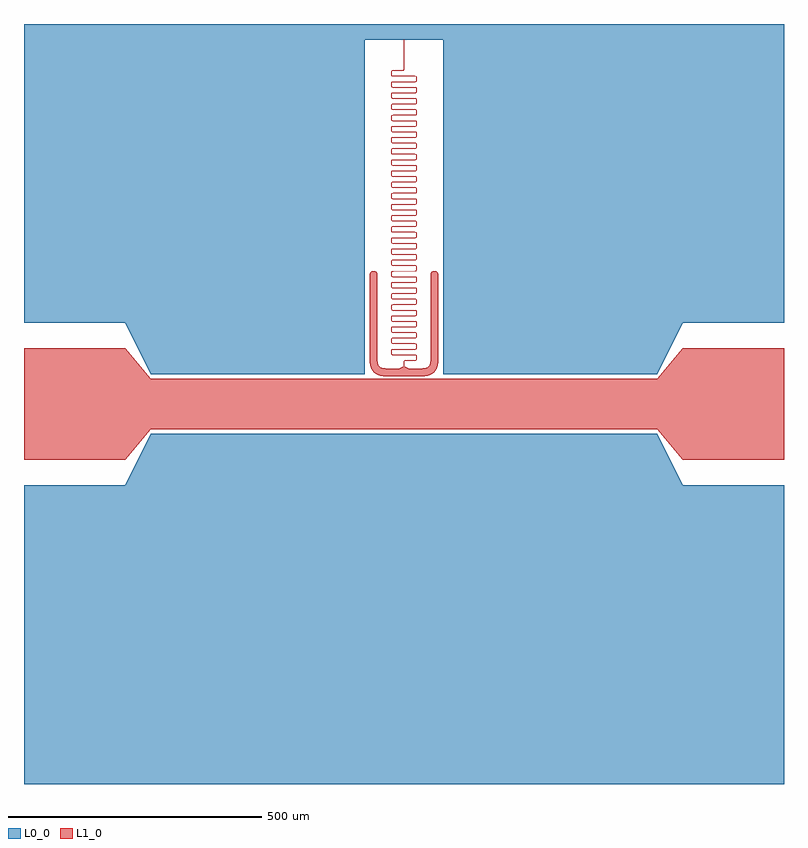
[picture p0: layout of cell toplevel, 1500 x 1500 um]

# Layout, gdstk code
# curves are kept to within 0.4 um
import gdstk
lib = gdstk.Library(unit=1e-6, precision=1e-09)
def P(c, l, *ps):  # polygons
    for p in ps: c.add(gdstk.Polygon(p, *l))
L0_0 = (0, 0)
L1_0 = (1, 0)

toplevel = lib.new_cell('toplevel')
P(toplevel, L0_0, [(77.5,719),(77.5,59),(500,59),(550,160),(750,160),(750,750),(-750,750),(-750,160),(-550,160),(-500,59),(-77.5,59),(-77.5,719)],
  [(750,-160),(550,-160),(500,-59),(-500,-59),(-550,-160),(-750,-160),(-750,-750),(750,-750)])
P(toplevel, L1_0, [(-60.327,262.493),(-63.17,261.797),(-65.53,260.067),(-67.048,257.565),(-67.5,255),(-67.466,86.294),(-66.361,76.299),(-63.309,68.269),(-59.261,62.96),(-54.07,59.101),(-47.508,56.466),(-39.74,55.199),(37.654,55.08),(46.853,56.295),(54.231,59.191),(59.678,63.38),(63.576,68.753),(66.164,75.484),(67.352,83.513),(67.5,255),(66.495,258.75),(63.17,261.797),(58.377,262.322),(54.47,260.067),(52.529,255.654),(52.486,87.498),(51.922,80.522),(50.334,75.8),(48.603,73.52),(46.053,71.837),(38.181,70.127),(-36.211,70.039),(-43.028,70.801),(-47.908,72.94),(-50.663,76.447),(-52.173,82.144),(-52.507,255.327),(-53.203,258.17),(-54.933,260.53),(-57.435,262.048)],
  [(0.5,75),(0.542,83.395),(0.892,84.54),(1.647,85.207),(3.309,85.498),(22.056,85.513),(23.416,85.743),(24.439,86.314),(25.209,87.449),(25.492,89.074),(25.462,94.413),(25.237,95.474),(24.782,96.322),(23.609,97.187),(21.852,97.495),(-22.765,97.601),(-23.43,97.83),(-23.923,98.208),(-24.254,98.752),(-24.442,99.48),(-24.486,105.057),(-24.353,105.956),(-24.056,106.621),(-23.194,107.275),(-21.742,107.497),(22.451,107.542),(23.855,107.925),(24.834,108.747),(25.365,109.971),(25.489,116.018),(25.257,117.416),(24.918,118.129),(24.422,118.7),(23.761,119.121),(22.951,119.382),(21.454,119.5),(-22.074,119.515),(-23.153,119.71),(-23.887,120.169),(-24.319,120.93),(-24.491,122.041),(-24.386,127.824),(-23.85,128.869),(-22.794,129.393),(-21.451,129.5),(22.262,129.525),(23.628,129.821),(24.627,130.496),(25.251,131.564),(25.49,133),(25.494,137.889),(25.3,139.281),(24.974,140.039),(24.488,140.642),(23.836,141.085),(23.009,141.37),(21.454,141.5),(-22.074,141.515),(-23.139,141.705),(-23.878,142.159),(-24.314,142.916),(-24.49,144.025),(-24.386,149.824),(-23.85,150.869),(-22.794,151.393),(-21.451,151.5),(22.262,151.525),(23.628,151.821),(24.627,152.496),(25.244,153.545),(25.489,154.982),(25.494,159.889),(25.3,161.281),(24.974,162.039),(24.488,162.642),(23.836,163.085),(23.009,163.37),(21.454,163.5),(-22.074,163.515),(-23.139,163.705),(-23.878,164.159),(-24.314,164.916),(-24.49,166.025),(-24.386,171.824),(-23.85,172.869),(-22.794,173.393),(-21.451,173.5),(22.262,173.525),(23.628,173.821),(24.627,174.496),(25.244,175.545),(25.488,176.963),(25.494,181.889),(25.3,183.281),(24.974,184.039),(24.488,184.642),(23.836,185.085),(23.009,185.37),(21.454,185.5),(-22.074,185.515),(-23.139,185.705),(-23.878,186.159),(-24.314,186.916),(-24.489,188.008),(-24.386,193.824),(-23.85,194.869),(-22.794,195.393),(-21.451,195.5),(22.262,195.525),(23.609,195.813),(24.612,196.48),(25.237,197.526),(25.487,198.944),(25.494,203.889),(25.3,205.281),(24.974,206.039),(24.488,206.642),(23.836,207.085),(23.009,207.37),(21.454,207.5),(-22.057,207.514),(-23.126,207.7),(-23.869,208.15),(-24.31,208.902),(-24.488,209.992),(-24.386,215.824),(-23.85,216.869),(-22.794,217.393),(-21.451,217.5),(22.262,217.525),(23.609,217.813),(24.612,218.48),(25.237,219.526),(25.486,220.926),(25.494,225.889),(25.3,227.281),(24.974,228.039),(24.488,228.642),(23.836,229.085),(23.009,229.37),(21.454,229.5),(-22.057,229.514),(-23.126,229.7),(-23.869,230.15),(-24.31,230.902),(-24.488,231.975),(-24.386,237.824),(-23.85,238.869),(-22.794,239.393),(-21.451,239.5),(22.243,239.524),(23.609,239.813),(24.597,240.465),(25.231,241.507),(25.485,242.907),(25.494,247.871),(25.3,249.281),(24.974,250.039),(24.488,250.642),(23.836,251.085),(23.009,251.37),(21.454,251.5),(-22.057,251.514),(-23.126,251.7),(-23.86,252.14),(-24.305,252.888),(-24.487,253.959),(-24.386,259.824),(-23.85,260.869),(-22.794,261.393),(-21.451,261.5),(22.243,261.524),(23.609,261.813),(24.597,262.465),(25.224,263.487),(25.484,264.888),(25.494,269.871),(25.3,271.281),(24.974,272.039),(24.488,272.642),(23.836,273.085),(23.009,273.37),(21.454,273.5),(-22.057,273.514),(-23.126,273.7),(-23.86,274.14),(-24.3,274.874),(-24.486,275.943),(-24.39,281.809),(-23.86,282.86),(-22.794,283.393),(-21.451,283.5),(22.243,283.524),(23.609,283.813),(24.597,284.465),(25.224,285.487),(25.483,286.87),(25.494,291.871),(25.306,293.261),(24.974,294.039),(24.488,294.642),(23.836,295.085),(23.009,295.37),(21.454,295.5),(-22.057,295.514),(-23.112,295.695),(-23.85,296.131),(-24.295,296.861),(-24.484,297.91),(-24.39,303.809),(-23.86,304.86),(-22.794,305.393),(-21.451,305.5),(22.243,305.524),(23.609,305.813),(24.597,306.465),(25.224,307.487),(25.482,308.851),(25.494,313.871),(25.306,315.261),(24.974,316.039),(24.488,316.642),(23.836,317.085),(23.009,317.37),(21.454,317.5),(-22.057,317.514),(-23.112,317.695),(-23.85,318.131),(-24.29,318.847),(-24.483,319.894),(-24.39,325.809),(-23.86,326.86),(-22.794,327.393),(-21.451,327.5),(22.243,327.524),(23.589,327.806),(24.582,328.449),(25.209,329.449),(25.48,330.814),(25.495,335.852),(25.306,337.261),(24.974,338.039),(24.488,338.642),(23.836,339.085),(23.009,339.37),(21.454,339.5),(-22.041,339.513),(-23.098,339.69),(-23.841,340.122),(-24.285,340.833),(-24.482,341.877),(-24.39,347.809),(-23.86,348.86),(-22.794,349.393),(-21.451,349.5),(22.243,349.524),(23.589,349.806),(24.582,350.449),(25.209,351.449),(25.479,352.795),(25.495,357.852),(25.306,359.261),(24.974,360.039),(24.488,360.642),(23.836,361.085),(23.009,361.37),(21.454,361.5),(-22.041,361.513),(-23.098,361.69),(-23.831,362.113),(-24.28,362.819),(-24.48,363.845),(-24.39,369.809),(-23.86,370.86),(-22.794,371.393),(-21.451,371.5),(22.224,371.523),(23.57,371.798),(24.567,372.433),(25.202,373.43),(25.476,374.757),(25.495,379.852),(25.306,381.261),(24.974,382.039),(24.488,382.642),(23.836,383.085),(23.009,383.37),(21.454,383.5),(-22.041,383.513),(-23.098,383.69),(-23.831,384.113),(-24.28,384.819),(-24.479,385.829),(-24.39,391.809),(-23.86,392.86),(-22.794,393.393),(-21.451,393.5),(22.224,393.523),(23.551,393.791),(24.551,394.418),(25.194,395.411),(25.475,396.738),(25.495,401.852),(25.306,403.261),(24.974,404.039),(24.488,404.642),(23.836,405.085),(23.009,405.37),(21.454,405.5),(-22.041,405.513),(-23.084,405.686),(-23.821,406.104),(-24.27,406.792),(-24.476,407.796),(-24.393,413.794),(-23.86,414.86),(-22.794,415.393),(-21.451,415.5),(22.224,415.523),(23.551,415.791),(24.551,416.418),(25.187,417.391),(25.472,418.701),(25.495,423.834),(25.311,425.242),(24.985,426.021),(24.488,426.642),(23.836,427.085),(23.009,427.37),(21.454,427.5),(-22.025,427.512),(-23.07,427.681),(-23.812,428.095),(-24.264,428.779),(-24.474,429.764),(-24.393,435.794),(-23.86,436.86),(-22.794,437.393),(-21.451,437.5),(22.224,437.523),(23.551,437.791),(24.535,438.403),(25.179,439.372),(25.469,440.663),(25.496,445.816),(25.311,447.242),(24.985,448.021),(24.488,448.642),(23.836,449.085),(23.009,449.37),(21.454,449.5),(-22.025,449.512),(-23.07,449.681),(-23.802,450.086),(-24.259,450.765),(-24.471,451.732),(-24.393,457.794),(-23.86,458.86),(-22.794,459.393),(-21.451,459.5),(22.205,459.521),(23.532,459.784),(24.52,460.388),(25.163,461.334),(25.464,462.606),(25.496,467.816),(25.311,469.242),(24.985,470.021),(24.488,470.642),(23.836,471.085),(23.009,471.37),(21.454,471.5),(-22.025,471.512),(-23.056,471.677),(-23.792,472.077),(-24.248,472.738),(-24.467,473.684),(-24.396,479.779),(-23.86,480.86),(-22.794,481.393),(-21.451,481.5),(22.205,481.521),(23.513,481.776),(24.504,482.373),(25.155,483.315),(25.46,484.568),(25.496,489.797),(25.317,491.223),(24.996,492.003),(24.504,492.627),(23.836,493.085),(23.009,493.37),(21.454,493.5),(-22.008,493.512),(-23.042,493.672),(-23.782,494.068),(-24.237,494.712),(-24.462,495.636),(-24.396,501.779),(-23.86,502.86),(-22.794,503.393),(-21.451,503.5),(22.186,503.52),(23.493,503.769),(24.488,504.358),(25.138,505.277),(25.454,506.511),(25.496,511.779),(25.317,513.223),(24.996,514.003),(24.504,514.627),(23.836,515.085),(23.009,515.37),(21.454,515.5),(-22.008,515.512),(-23.027,515.668),(-23.762,516.051),(-24.219,516.673),(-24.456,517.589),(-24.396,523.779),(-23.86,524.86),(-22.779,525.396),(22.186,525.52),(23.493,525.769),(24.471,526.343),(25.121,527.239),(25.445,528.434),(25.497,533.743),(25.322,535.203),(24.996,536.003),(24.504,536.627),(23.836,537.085),(23.009,537.37),(21.454,537.5),(-21.992,537.511),(-23.013,537.664),(-23.741,538.034),(-24.207,538.647),(-24.449,539.526),(-24.399,545.765),(-23.86,546.86),(-22.779,547.396),(22.168,547.519),(23.455,547.756),(24.439,548.314),(25.094,549.183),(25.435,550.358),(25.498,555.706),(25.327,557.184),(25.006,557.984),(24.52,558.612),(23.855,559.075),(23.029,559.365),(21.454,559.5),(-21.975,559.51),(-22.985,559.655),(-23.72,560.017),(-24.189,560.608),(-24.44,561.464),(-24.399,567.765),(-23.86,568.86),(-22.779,569.396),(-21.451,569.5),(22.149,569.518),(23.436,569.749),(24.406,570.286),(25.066,571.127),(25.421,572.261),(25.498,577.67),(25.332,579.165),(25.016,579.966),(24.52,580.612),(23.855,581.075),(23.029,581.365),(21.454,581.5),(-21.975,581.51),(-22.97,581.651),(-23.699,582),(-24.163,582.558),(-24.425,583.372),(-24.403,589.75),(-23.869,590.85),(-22.779,591.396),(-21.434,591.5),(22.13,591.517),(23.397,591.736),(24.356,592.245),(25.027,593.052),(25.401,594.146),(25.499,599.598),(25.337,601.145),(25.027,601.948),(24.535,602.597),(23.873,603.066),(23.029,603.365),(21.454,603.5),(-21.942,603.509),(-22.927,603.639),(-23.655,603.968),(-24.129,604.496),(-24.406,605.265),(-24.406,611.735),(-23.869,612.85),(-22.779,613.396),(-21.434,613.5),(22.112,613.516),(23.339,613.717),(24.305,614.205),(24.974,614.961),(25.37,615.991),(25.5,621.49),(25.342,623.126),(25.027,623.948),(24.535,624.597),(23.873,625.066),(23.029,625.365),(21.454,625.5),(-21.926,625.508),(-22.898,625.632),(-23.61,625.937),(-24.086,626.425),(-24.379,627.146),(-24.5,628.497),(-24.412,633.704),(-23.878,634.841),(-22.779,635.396),(-21.434,635.5),(22.074,635.514),(23.281,635.7),(24.218,636.141),(24.895,636.835),(25.322,637.797),(25.5,639.51),(25.495,643.852),(25.352,645.087),(25.037,645.929),(24.551,646.582),(23.873,647.066),(23.029,647.365),(21.454,647.5),(-21.892,647.507),(-22.839,647.617),(-23.54,647.892),(-24.016,648.323),(-24.332,648.973),(-24.497,650.275),(-24.451,655.458),(-24.071,656.598),(-23.288,657.237),(-21.674,657.498),(-2.587,657.538),(-1.584,657.743),(-0.782,658.141),(-0.179,658.73),(0.237,659.526),(0.5,661.51),(0.5,719),(-0.5,719),(-0.5,661.531),(-0.705,659.861),(-1,659.301),(-1.425,658.914),(-2.812,658.522),(-21.761,658.497),(-22.854,658.401),(-23.742,658.13),(-24.859,657.218),(-25.417,655.758),(-25.497,650.257),(-25.288,648.68),(-24.846,647.764),(-24.165,647.105),(-23.242,646.689),(-22.056,646.513),(22.779,646.396),(23.878,645.841),(24.414,644.689),(24.499,639.411),(24.357,638.059),(24.056,637.379),(23.575,636.914),(22.868,636.624),(21.909,636.508),(-21.454,636.5),(-23.029,636.365),(-23.873,636.066),(-24.551,635.582),(-25.037,634.929),(-25.347,634.106),(-25.5,632.348),(-25.495,628.148),(-25.352,626.913),(-24.941,625.906),(-24.27,625.179),(-23.32,624.712),(-22.093,624.515),(22.779,624.396),(23.878,623.841),(24.409,622.719),(24.5,617.566),(24.393,616.206),(24.108,615.46),(23.632,614.952),(22.912,614.635),(21.942,614.509),(-21.454,614.5),(-23.029,614.365),(-23.873,614.066),(-24.535,613.597),(-25.027,612.948),(-25.337,612.145),(-25.499,610.562),(-25.386,605.068),(-25.006,604.016),(-24.339,603.231),(-23.378,602.73),(-22.13,602.517),(22.779,602.396),(23.869,601.85),(24.406,600.735),(24.417,594.326),(24.15,593.533),(23.677,592.984),(22.956,592.647),(21.959,592.509),(-21.454,592.5),(-23.029,592.365),(-23.855,592.075),(-24.52,591.612),(-25.016,590.966),(-25.332,590.165),(-25.499,588.634),(-25.411,583.204),(-25.047,582.09),(-24.389,581.272),(-23.416,580.743),(-22.149,580.518),(22.779,580.396),(23.869,579.85),(24.403,578.75),(24.433,572.418),(24.176,571.583),(23.709,571.008),(22.985,570.655),(21.975,570.51),(-21.454,570.5),(-23.029,570.365),(-23.855,570.075),(-24.52,569.612),(-25.006,568.984),(-25.327,568.184),(-25.498,566.706),(-25.429,561.319),(-25.085,560.164),(-24.422,559.3),(-23.455,558.756),(-22.168,558.519),(22.779,558.396),(23.86,557.86),(24.399,556.765),(24.444,550.495),(24.201,549.634),(23.741,549.034),(23.013,548.664),(21.992,548.511),(-21.454,548.5),(-23.029,548.365),(-23.855,548.075),(-24.52,547.612),(-25.006,546.984),(-25.322,546.203),(-25.497,544.743),(-25.44,539.396),(-25.103,538.202),(-24.455,537.329),(-23.474,536.763),(-22.168,536.519),(22.779,536.396),(23.86,535.86),(24.396,534.779),(24.453,528.558),(24.213,527.66),(23.751,527.042),(23.013,526.664),(21.992,526.511),(-21.454,526.5),(-23.009,526.37),(-23.836,526.085),(-24.504,525.627),(-24.996,525.003),(-25.317,524.223),(-25.497,522.761),(-25.45,517.473),(-25.121,516.239),(-24.471,515.343),(-23.493,514.769),(-22.186,514.52),(22.779,514.396),(23.86,513.86),(24.396,512.779),(24.46,506.621),(24.231,505.699),(23.772,505.059),(23.042,504.672),(22.008,504.512),(-21.454,504.5),(-23.009,504.37),(-23.836,504.085),(-24.504,503.627),(-24.996,503.003),(-25.317,502.223),(-25.496,500.779),(-25.456,495.53),(-25.138,494.277),(-24.488,493.358),(-23.493,492.769),(-22.186,492.52),(22.779,492.396),(23.86,491.86),(24.393,490.794),(24.465,484.668),(24.242,483.725),(23.782,483.068),(23.042,482.672),(22.008,482.512),(-21.454,482.5),(-23.009,482.37),(-23.836,482.085),(-24.504,481.627),(-24.996,481.003),(-25.317,480.223),(-25.496,478.797),(-25.462,473.587),(-25.163,472.334),(-24.52,471.388),(-23.532,470.784),(-22.205,470.521),(21.451,470.5),(22.794,470.393),(23.86,469.86),(24.396,468.779),(24.468,462.7),(24.254,461.752),(23.802,461.086),(23.07,460.681),(22.025,460.512),(-21.454,460.5),(-23.009,460.37),(-23.836,460.085),(-24.488,459.642),(-24.985,459.021),(-25.311,458.242),(-25.496,456.816),(-25.467,451.644),(-25.171,450.353),(-24.52,449.388),(-23.532,448.784),(-22.205,448.521),(21.451,448.5),(22.794,448.393),(23.86,447.86),(24.393,446.794),(24.472,440.748),(24.259,439.765),(23.812,439.095),(23.07,438.681),(22.025,438.512),(-21.454,438.5),(-23.009,438.37),(-23.836,438.085),(-24.488,437.642),(-24.985,437.021),(-25.311,436.242),(-25.496,434.816),(-25.47,429.682),(-25.179,428.372),(-24.535,427.403),(-23.551,426.791),(-22.224,426.523),(21.451,426.5),(22.794,426.393),(23.86,425.86),(24.393,424.794),(24.475,418.78),(24.27,417.792),(23.821,417.104),(23.084,416.686),(22.025,416.512),(-21.454,416.5),(-23.009,416.37),(-23.836,416.085),(-24.488,415.642),(-24.985,415.021),(-25.311,414.242),(-25.495,412.834),(-25.473,407.72),(-25.187,406.391),(-24.551,405.418),(-23.551,404.791),(-22.224,404.523),(21.451,404.5),(22.794,404.393),(23.86,403.86),(24.393,402.794),(24.478,396.812),(24.275,395.806),(23.831,395.113),(23.098,394.69),(22.041,394.513),(-21.454,394.5),(-23.009,394.37),(-23.836,394.085),(-24.488,393.642),(-24.974,393.039),(-25.306,392.261),(-25.495,390.852),(-25.476,385.757),(-25.202,384.43),(-24.567,383.433),(-23.57,382.798),(-22.224,382.523),(21.451,382.5),(22.794,382.393),(23.86,381.86),(24.39,380.809),(24.479,374.829),(24.28,373.819),(23.831,373.113),(23.098,372.69),(22.041,372.513),(-21.454,372.5),(-23.009,372.37),(-23.836,372.085),(-24.488,371.642),(-24.974,371.039),(-25.306,370.261),(-25.495,368.852),(-25.477,363.776),(-25.202,362.43),(-24.567,361.433),(-23.57,360.798),(-22.224,360.523),(21.451,360.5),(22.794,360.393),(23.86,359.86),(24.39,358.809),(24.481,352.861),(24.285,351.833),(23.841,351.122),(23.098,350.69),(22.041,350.513),(-21.454,350.5),(-23.009,350.37),(-23.836,350.085),(-24.488,349.642),(-24.974,349.039),(-25.306,348.261),(-25.495,346.852),(-25.48,341.814),(-25.209,340.449),(-24.582,339.449),(-23.589,338.806),(-22.243,338.524),(21.451,338.5),(22.794,338.393),(23.86,337.86),(24.39,336.809),(24.483,330.894),(24.29,329.847),(23.85,329.131),(23.112,328.695),(22.057,328.514),(-21.454,328.5),(-23.009,328.37),(-23.836,328.085),(-24.488,327.642),(-24.974,327.039),(-25.306,326.261),(-25.495,324.852),(-25.481,319.832),(-25.216,318.468),(-24.582,317.449),(-23.589,316.806),(-22.243,316.524),(21.451,316.5),(22.794,316.393),(23.86,315.86),(24.39,314.809),(24.484,308.91),(24.295,307.861),(23.85,307.131),(23.112,306.695),(22.057,306.514),(-21.454,306.5),(-23.009,306.37),(-23.836,306.085),(-24.488,305.642),(-24.974,305.039),(-25.306,304.261),(-25.494,302.871),(-25.482,297.851),(-25.224,296.487),(-24.597,295.465),(-23.609,294.813),(-22.243,294.524),(21.451,294.5),(22.794,294.393),(23.86,293.86),(24.39,292.809),(24.485,286.926),(24.3,285.874),(23.86,285.14),(23.126,284.7),(22.057,284.514),(-21.454,284.5),(-23.009,284.37),(-23.836,284.085),(-24.488,283.642),(-24.974,283.039),(-25.3,282.281),(-25.494,280.871),(-25.484,275.888),(-25.224,274.487),(-24.597,273.465),(-23.609,272.813),(-22.243,272.524),(21.451,272.5),(22.794,272.393),(23.86,271.86),(24.39,270.809),(24.486,264.943),(24.3,263.874),(23.86,263.14),(23.126,262.7),(22.057,262.514),(-21.454,262.5),(-23.009,262.37),(-23.836,262.085),(-24.488,261.642),(-24.974,261.039),(-25.3,260.281),(-25.494,258.871),(-25.485,253.907),(-25.231,252.507),(-24.597,251.465),(-23.609,250.813),(-22.243,250.524),(21.451,250.5),(22.794,250.393),(23.85,249.869),(24.386,248.824),(24.487,242.959),(24.305,241.888),(23.86,241.14),(23.126,240.7),(22.057,240.514),(-21.454,240.5),(-23.009,240.37),(-23.836,240.085),(-24.488,239.642),(-24.974,239.039),(-25.3,238.281),(-25.494,236.889),(-25.486,231.926),(-25.237,230.526),(-24.612,229.48),(-23.609,228.813),(-22.262,228.525),(21.451,228.5),(22.794,228.393),(23.85,227.869),(24.386,226.824),(24.488,220.975),(24.31,219.902),(23.869,219.15),(23.126,218.7),(22.057,218.514),(-21.454,218.5),(-23.009,218.37),(-23.836,218.085),(-24.488,217.642),(-24.974,217.039),(-25.3,216.281),(-25.494,214.889),(-25.487,209.944),(-25.237,208.526),(-24.612,207.48),(-23.609,206.813),(-22.262,206.525),(21.451,206.5),(22.794,206.393),(23.85,205.869),(24.386,204.824),(24.488,198.992),(24.31,197.902),(23.869,197.15),(23.126,196.7),(22.057,196.514),(-21.454,196.5),(-23.009,196.37),(-23.836,196.085),(-24.488,195.642),(-24.974,195.039),(-25.3,194.281),(-25.494,192.889),(-25.488,187.963),(-25.244,186.545),(-24.627,185.496),(-23.628,184.821),(-22.262,184.525),(21.451,184.5),(22.794,184.393),(23.85,183.869),(24.386,182.824),(24.489,177.008),(24.314,175.916),(23.878,175.159),(23.139,174.705),(22.074,174.515),(-21.454,174.5),(-23.009,174.37),(-23.836,174.085),(-24.488,173.642),(-24.974,173.039),(-25.3,172.281),(-25.494,170.889),(-25.488,165.963),(-25.244,164.545),(-24.627,163.496),(-23.628,162.821),(-22.262,162.525),(21.451,162.5),(22.794,162.393),(23.85,161.869),(24.386,160.824),(24.49,155.025),(24.314,153.916),(23.878,153.159),(23.139,152.705),(22.074,152.515),(-21.454,152.5),(-23.009,152.37),(-23.836,152.085),(-24.488,151.642),(-24.974,151.039),(-25.3,150.281),(-25.494,148.889),(-25.489,143.982),(-25.244,142.545),(-24.627,141.496),(-23.628,140.821),(-22.262,140.525),(21.451,140.5),(22.794,140.393),(23.85,139.869),(24.386,138.824),(24.491,133.041),(24.319,131.93),(23.887,131.169),(23.153,130.71),(22.074,130.515),(-21.454,130.5),(-23.009,130.37),(-23.836,130.085),(-24.488,129.642),(-24.974,129.039),(-25.3,128.281),(-25.494,126.889),(-25.49,122),(-25.251,120.564),(-24.627,119.496),(-23.628,118.821),(-22.262,118.525),(22.75,118.403),(23.812,117.905),(24.365,116.912),(24.495,115.826),(24.5,111.74),(24.412,110.296),(24.048,109.368),(23.353,108.793),(22.284,108.53),(-21.871,108.494),(-23.685,108.155),(-24.373,107.742),(-24.883,107.183),(-25.294,106.3),(-25.479,105.205),(-25.411,99.204),(-25.13,98.258),(-24.642,97.512),(-23.948,96.973),(-23.068,96.644),(-21.472,96.5),(21.758,96.497),(23.139,96.295),(24,95.699),(24.328,95.042),(24.48,94.155),(24.475,88.78),(24.115,87.472),(23.275,86.758),(21.657,86.502),(2.963,86.488),(1.603,86.264),(0.594,85.714),(-0.121,84.761),(-0.46,83.432),(-0.5,75)],
  [(10,70),(0.5,75),(-0.5,75),(-10,70)],
  [(-500,50),(-550,110),(-750,110),(-750,-110),(-550,-110),(-500,-50),(500,-50),(550,-110),(750,-110),(750,110),(550,110),(500,50)])

lib.write_gds('toplevel.gds')
